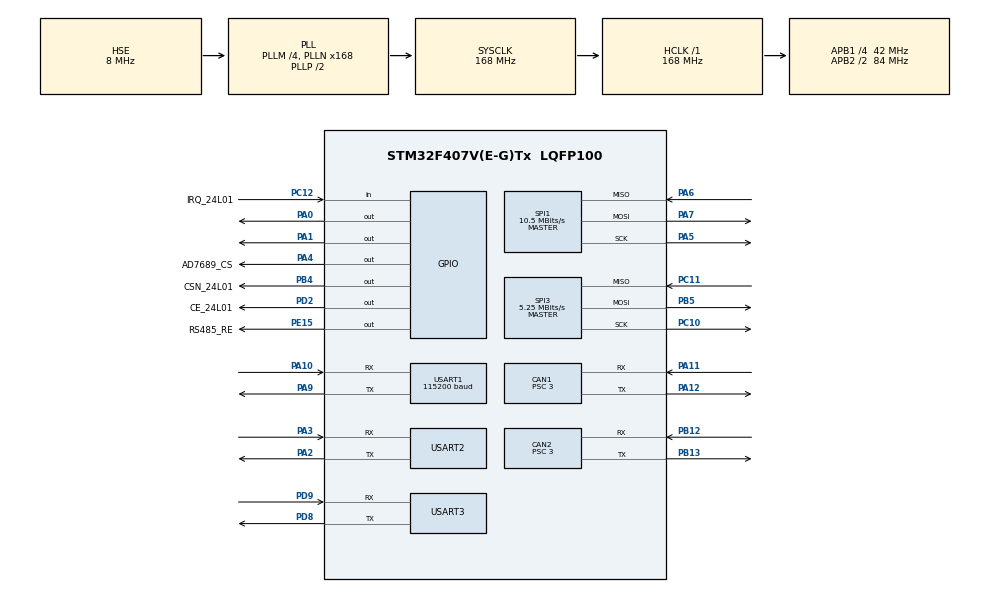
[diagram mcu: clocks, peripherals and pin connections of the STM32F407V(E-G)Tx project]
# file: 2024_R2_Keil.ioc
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CAN1.ABOM=ENABLE
CAN1.AWUM=DISABLE
CAN1.BS1=CAN_BS1_10TQ
CAN1.BS2=CAN_BS2_3TQ
CAN1.CalculateBaudRate=1000000
CAN1.CalculateTimeBit=1000
CAN1.CalculateTimeQuantum=71.42857142857143
CAN1.Prescaler=3
CAN2.ABOM=DISABLE
CAN2.AWUM=DISABLE
CAN2.BS1=CAN_BS1_10TQ
CAN2.BS2=CAN_BS2_3TQ
CAN2.CalculateBaudRate=1000000
CAN2.CalculateTimeBit=1000
CAN2.CalculateTimeQuantum=71.42857142857143
CAN2.Prescaler=3
Dma.Request0=USART1_RX
Dma.Request1=USART2_RX
Dma.Request2=USART3_RX
Dma.USART1_RX.0.Direction=DMA_PERIPH_TO_MEMORY
Dma.USART1_RX.0.FIFOMode=DMA_FIFOMODE_DISABLE
Dma.USART1_RX.0.Instance=DMA2_Stream2
Dma.USART1_RX.0.MemDataAlignment=DMA_MDATAALIGN_BYTE
Dma.USART1_RX.0.MemInc=DMA_MINC_ENABLE
Dma.USART1_RX.0.Mode=DMA_NORMAL
Dma.USART1_RX.0.PeriphDataAlignment=DMA_PDATAALIGN_BYTE
Dma.USART1_RX.0.PeriphInc=DMA_PINC_DISABLE
Dma.USART1_RX.0.Priority=DMA_PRIORITY_LOW
Dma.USART2_RX.1.Direction=DMA_PERIPH_TO_MEMORY
Dma.USART2_RX.1.FIFOMode=DMA_FIFOMODE_DISABLE
Dma.USART2_RX.1.Instance=DMA1_Stream5
Dma.USART2_RX.1.MemDataAlignment=DMA_MDATAALIGN_BYTE
Dma.USART2_RX.1.MemInc=DMA_MINC_ENABLE
Dma.USART2_RX.1.Mode=DMA_NORMAL
Dma.USART2_RX.1.PeriphDataAlignment=DMA_PDATAALIGN_BYTE
Dma.USART2_RX.1.PeriphInc=DMA_PINC_DISABLE
Dma.USART2_RX.1.Priority=DMA_PRIORITY_LOW
Dma.USART3_RX.2.Direction=DMA_PERIPH_TO_MEMORY
Dma.USART3_RX.2.FIFOMode=DMA_FIFOMODE_DISABLE
Dma.USART3_RX.2.Instance=DMA1_Stream1
Dma.USART3_RX.2.MemDataAlignment=DMA_MDATAALIGN_BYTE
Dma.USART3_RX.2.MemInc=DMA_MINC_ENABLE
Dma.USART3_RX.2.Mode=DMA_NORMAL
Dma.USART3_RX.2.PeriphDataAlignment=DMA_PDATAALIGN_BYTE
Dma.USART3_RX.2.PeriphInc=DMA_PINC_DISABLE
Dma.USART3_RX.2.Priority=DMA_PRIORITY_LOW
FREERTOS.Events01=motion_arrive_event,Dynamic,NULL
FREERTOS.Queues01=chassis_cmd_queue,16,ChassisCmd_t,0,Dynamic,NULL,NULL;grap_cmd_queue,16,GrapCommand_e,0,Dynamic,NULL,NULL
FREERTOS.Tasks01=defaultTask,24,128,StartDefaultTask,Default,NULL,Dynamic,NULL,NULL;motor_task,8,128,motor_task_entry,Default,NULL,Dynamic,NULL,NULL;chassis_task,8,128,chassis_task_entry,As external,NULL,Dynamic,NULL,NULL;plant_task,8,128,plant_task_entry,Default,NULL,Dynamic,NULL,NULL;launch_task,8,128,launch_task_entry,Default,NULL,Dynamic,NULL,NULL
Mcu.Family=STM32F4
Mcu.Name=STM32F407V(E-G)Tx
Mcu.Package=LQFP100
NVIC.CAN1_RX0_IRQn=true\:5\:0\:false\:false\:true\:true\:true\:true\:true
NVIC.CAN2_RX1_IRQn=true\:5\:0\:false\:false\:true\:true\:true\:true\:true
NVIC.DMA1_Stream1_IRQn=true\:5\:0\:false\:false\:true\:true\:false\:true\:true
NVIC.DMA1_Stream5_IRQn=true\:5\:0\:false\:false\:true\:true\:false\:true\:true
NVIC.DMA2_Stream2_IRQn=true\:5\:0\:false\:false\:true\:true\:false\:true\:true
NVIC.PriorityGroup=NVIC_PRIORITYGROUP_4
NVIC.SPI3_IRQn=true\:5\:0\:false\:false\:true\:true\:true\:true\:true
NVIC.TIM1_UP_TIM10_IRQn=true\:15\:0\:false\:false\:true\:false\:false\:true\:true
NVIC.TIM6_DAC_IRQn=true\:5\:0\:false\:false\:true\:true\:true\:true\:true
NVIC.TIM7_IRQn=true\:5\:0\:false\:false\:true\:true\:true\:true\:true
NVIC.TimeBase=TIM1_UP_TIM10_IRQn
NVIC.TimeBaseIP=TIM1
NVIC.USART1_IRQn=true\:5\:0\:false\:false\:true\:true\:true\:true\:true
NVIC.USART2_IRQn=true\:5\:0\:false\:false\:true\:true\:true\:true\:true
NVIC.USART3_IRQn=true\:5\:0\:false\:false\:true\:true\:true\:true\:true
PA0-WKUP.GPIO_Speed=GPIO_SPEED_FREQ_HIGH
PA0-WKUP.PinState=GPIO_PIN_SET
PA0-WKUP.Signal=GPIO_Output
PA1.GPIO_Speed=GPIO_SPEED_FREQ_HIGH
PA1.PinState=GPIO_PIN_SET
PA1.Signal=GPIO_Output
PA10.Mode=Asynchronous
PA10.Signal=USART1_RX
PA11.Mode=CAN_Activate
PA11.Signal=CAN1_RX
PA12.Mode=CAN_Activate
PA12.Signal=CAN1_TX
PA13.Mode=Serial_Wire
PA13.Signal=SYS_JTMS-SWDIO
PA14.Mode=Serial_Wire
PA14.Signal=SYS_JTCK-SWCLK
PA2.Mode=Asynchronous
PA2.Signal=USART2_TX
PA3.Mode=Asynchronous
PA3.Signal=USART2_RX
PA4.GPIO_Label=AD7689_CS
PA4.GPIO_PuPd=GPIO_NOPULL
PA4.GPIO_Speed=GPIO_SPEED_FREQ_LOW
PA4.PinState=GPIO_PIN_SET
PA4.Signal=GPIO_Output
PA5.Mode=Full_Duplex_Master
PA5.Signal=SPI1_SCK
PA6.Mode=Full_Duplex_Master
PA6.Signal=SPI1_MISO
PA7.Mode=Full_Duplex_Master
PA7.Signal=SPI1_MOSI
PA9.Mode=Asynchronous
PA9.Signal=USART1_TX
PB12.Mode=CAN_Activate
PB12.Signal=CAN2_RX
PB13.Mode=CAN_Activate
PB13.Signal=CAN2_TX
PB4.GPIO_Label=CSN_24L01
PB4.GPIO_Speed=GPIO_SPEED_FREQ_HIGH
PB4.PinState=GPIO_PIN_SET
PB4.Signal=GPIO_Output
PB5.Mode=Full_Duplex_Master
PB5.Signal=SPI3_MOSI
PC10.Mode=Full_Duplex_Master
PC10.Signal=SPI3_SCK
PC11.Mode=Full_Duplex_Master
PC11.Signal=SPI3_MISO
PC12.GPIO_Label=IRQ_24L01
PC12.GPIO_PuPd=GPIO_PULLUP
PC12.Signal=GPIO_Input
PD2.GPIO_Label=CE_24L01
PD2.GPIO_Speed=GPIO_SPEED_FREQ_HIGH
PD2.PinState=GPIO_PIN_SET
PD2.Signal=GPIO_Output
PD8.Mode=Asynchronous
PD8.Signal=USART3_TX
PD9.Mode=Asynchronous
PD9.Signal=USART3_RX
PE15.GPIO_Label=RS485_RE
PE15.PinState=GPIO_PIN_SET
PE15.Signal=GPIO_Output
PH0-OSC_IN.Mode=HSE-External-Oscillator
PH0-OSC_IN.Signal=RCC_OSC_IN
PH1-OSC_OUT.Mode=HSE-External-Oscillator
PH1-OSC_OUT.Signal=RCC_OSC_OUT
ProjectManager.HeapSize=0x200
ProjectManager.StackSize=0x400
ProjectManager.TargetToolchain=Makefile
RCC.48MHZClocksFreq_Value=84000000
RCC.AHBFreq_Value=168000000
RCC.APB1CLKDivider=RCC_HCLK_DIV4
RCC.APB1Freq_Value=42000000
RCC.APB1TimFreq_Value=84000000
RCC.APB2CLKDivider=RCC_HCLK_DIV2
RCC.APB2Freq_Value=84000000
RCC.APB2TimFreq_Value=168000000
RCC.CortexFreq_Value=168000000
RCC.HCLKFreq_Value=168000000
RCC.HSE_VALUE=8000000
RCC.HSI_VALUE=16000000
RCC.LSE_VALUE=32768
RCC.PLLM=4
RCC.PLLN=168
RCC.PLLSourceVirtual=RCC_PLLSOURCE_HSE
RCC.SYSCLKFreq_VALUE=168000000
RCC.SYSCLKSource=RCC_SYSCLKSOURCE_PLLCLK
RCC.VCOOutputFreq_Value=336000000
SPI1.BaudRatePrescaler=SPI_BAUDRATEPRESCALER_8
SPI1.CalculateBaudRate=10.5 MBits/s
SPI1.Direction=SPI_DIRECTION_2LINES
SPI1.Mode=SPI_MODE_MASTER
SPI1.VirtualType=VM_MASTER
SPI3.BaudRatePrescaler=SPI_BAUDRATEPRESCALER_8
SPI3.CalculateBaudRate=5.25 MBits/s
SPI3.Direction=SPI_DIRECTION_2LINES
SPI3.Mode=SPI_MODE_MASTER
SPI3.VirtualType=VM_MASTER
TIM6.Period=4999
TIM6.Prescaler=83
TIM7.Period=49999
TIM7.Prescaler=83
USART1.BaudRate=115200
USART1.VirtualMode=VM_ASYNC
USART2.VirtualMode=VM_ASYNC
USART3.VirtualMode=VM_ASYNC
VP_FREERTOS_VS_CMSIS_V2.Mode=CMSIS_V2
VP_SYS_VS_tim1.Mode=TIM1
VP_TIM6_VS_ClockSourceINT.Mode=Enable_Timer
VP_TIM7_VS_ClockSourceINT.Mode=Enable_Timer
board=custom

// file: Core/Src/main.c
/* USER CODE BEGIN Header */
/**
  ******************************************************************************
  * @file           : main.c
  * @brief          : Main program body
  ******************************************************************************
  * @attention
  *
  * Copyright (c) 2024 STMicroelectronics.
  * All rights reserved.
  *
  * This software is licensed under terms that can be found in the LICENSE file
  * in the root directory of this software component.
  * If no LICENSE file comes with this software, it is provided AS-IS.
  *
  ******************************************************************************
  */
/* USER CODE END Header */
#include "main.h"
#include "cmsis_os.h"
#include "can.h"
#include "dma.h"
#include "spi.h"
#include "tim.h"
#include "usart.h"
#include "gpio.h"

/* USER CODE BEGIN Includes */
#include "vofa_setting.h"
#include "vofa.h"
#include "chassis_task.h"
#include "stdio.h"
#include "NRF24L01.h"
int fputc(int ch,FILE *f)
{
  HAL_UART_Transmit(&huart3,(uint8_t*)&ch,1,0xffff);
  return ch;
}
int fgetc(FILE *f)
{
  uint8_t ch=0;
	HAL_UART_Receive(&huart3,&ch,1,0xffff);
  return ch;
}
/* USER CODE END Includes */

void SystemClock_Config(void);
void MX_FREERTOS_Init(void);

int main(void)
{

  /* MCU Configuration--------------------------------------------------------*/

  /* Reset of all peripherals, Initializes the Flash interface and the Systick. */
  HAL_Init();

  /* Configure the system clock */
  SystemClock_Config();

  /* Initialize all configured peripherals */
  MX_GPIO_Init();
  MX_DMA_Init();
  MX_TIM6_Init();
  MX_CAN1_Init();
  MX_CAN2_Init();
  MX_USART1_UART_Init();
  MX_USART2_UART_Init();
  MX_USART3_UART_Init();
  MX_SPI3_Init();
  MX_TIM7_Init();
  MX_SPI1_Init();
  /* USER CODE BEGIN 2 */
	HAL_GPIO_WritePin(GPIOA, GPIO_PIN_0,GPIO_PIN_RESET);
	HAL_GPIO_WritePin(GPIOA, GPIO_PIN_1,GPIO_PIN_RESET);
  All_Init();
	NRF24L01_Init();
	while(NRF24L01_Check())
	{}
	RX_Mode_ack_data();
	HAL_Delay(5000);
	HAL_TIM_Base_Start_IT(&htim6);//��ʼִ�е�������,400hz
  HAL_TIM_Base_Start_IT(&htim7);//20hz
  /* USER CODE END 2 */

  /* Init scheduler */
  osKernelInitialize();  /* Call init function for freertos objects (in cmsis_os2.c) */
  MX_FREERTOS_Init();

  /* Start scheduler */
  osKernelStart();

  /* We should never get here as control is now taken by the scheduler */

  /* Infinite loop */
  while (1)
  {

  }
}

void SystemClock_Config(void)
{
  RCC_OscInitTypeDef RCC_OscInitStruct = {0};
  RCC_ClkInitTypeDef RCC_ClkInitStruct = {0};

  /** Configure the main internal regulator output voltage
  */
  __HAL_RCC_PWR_CLK_ENABLE();
  __HAL_PWR_VOLTAGESCALING_CONFIG(PWR_REGULATOR_VOLTAGE_SCALE1);

  /** Initializes the RCC Oscillators according to the specified parameters
  * in the RCC_OscInitTypeDef structure.
  */
  RCC_OscInitStruct.OscillatorType = RCC_OSCILLATORTYPE_HSE;
  RCC_OscInitStruct.HSEState = RCC_HSE_ON;
  RCC_OscInitStruct.PLL.PLLState = RCC_PLL_ON;
  RCC_OscInitStruct.PLL.PLLSource = RCC_PLLSOURCE_HSE;
  RCC_OscInitStruct.PLL.PLLM = 4;
  RCC_OscInitStruct.PLL.PLLN = 168;
  RCC_OscInitStruct.PLL.PLLP = RCC_PLLP_DIV2;
  RCC_OscInitStruct.PLL.PLLQ = 4;
  if (HAL_RCC_OscConfig(&RCC_OscInitStruct) != HAL_OK)
  {
    Error_Handler();
  }

  /** Initializes the CPU, AHB and APB buses clocks
  */
  RCC_ClkInitStruct.ClockType = RCC_CLOCKTYPE_HCLK|RCC_CLOCKTYPE_SYSCLK
                              |RCC_CLOCKTYPE_PCLK1|RCC_CLOCKTYPE_PCLK2;
  RCC_ClkInitStruct.SYSCLKSource = RCC_SYSCLKSOURCE_PLLCLK;
  RCC_ClkInitStruct.AHBCLKDivider = RCC_SYSCLK_DIV1;
  RCC_ClkInitStruct.APB1CLKDivider = RCC_HCLK_DIV4;
  RCC_ClkInitStruct.APB2CLKDivider = RCC_HCLK_DIV2;

  if (HAL_RCC_ClockConfig(&RCC_ClkInitStruct, FLASH_LATENCY_5) != HAL_OK)
  {
    Error_Handler();
  }
}

void HAL_TIM_PeriodElapsedCallback(TIM_HandleTypeDef *htim)
{
  if (htim->Instance == TIM1)
  {
    HAL_IncTick();
  }
}

void Error_Handler(void)
{
  __disable_irq();
  while (1)
  {
  }
}

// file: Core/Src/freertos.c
/* USER CODE BEGIN Header */
/**
  ******************************************************************************
  * File Name          : freertos.c
  * Description        : Code for freertos applications
  ******************************************************************************
  * @attention
  *
  * Copyright (c) 2025 STMicroelectronics.
  * All rights reserved.
  *
  * This software is licensed under terms that can be found in the LICENSE file
  * in the root directory of this software component.
  * If no LICENSE file comes with this software, it is provided AS-IS.
  *
  ******************************************************************************
  */
/* USER CODE END Header */

#include "FreeRTOS.h"
#include "task.h"
#include "main.h"
#include "cmsis_os.h"

/* USER CODE BEGIN Includes */
#include "chassis_module.h"
#include "grap_module.h"
/* USER CODE END Includes */

/* Definitions for defaultTask */
osThreadId_t defaultTaskHandle;
const osThreadAttr_t defaultTask_attributes = {
  .name = "defaultTask",
  .stack_size = 128 * 4,
  .priority = (osPriority_t) osPriorityNormal,
};
/* Definitions for motor_task */
osThreadId_t motor_taskHandle;
const osThreadAttr_t motor_task_attributes = {
  .name = "motor_task",
  .stack_size = 128 * 4,
  .priority = (osPriority_t) osPriorityLow,
};
/* Definitions for chassis_task */
osThreadId_t chassis_taskHandle;
const osThreadAttr_t chassis_task_attributes = {
  .name = "chassis_task",
  .stack_size = 128 * 4,
  .priority = (osPriority_t) osPriorityLow,
};
/* Definitions for plant_task */
osThreadId_t plant_taskHandle;
const osThreadAttr_t plant_task_attributes = {
  .name = "plant_task",
  .stack_size = 128 * 4,
  .priority = (osPriority_t) osPriorityLow,
};
/* Definitions for launch_task */
osThreadId_t launch_taskHandle;
const osThreadAttr_t launch_task_attributes = {
  .name = "launch_task",
  .stack_size = 128 * 4,
  .priority = (osPriority_t) osPriorityLow,
};
/* Definitions for chassis_cmd_queue */
osMessageQueueId_t chassis_cmd_queueHandle;
const osMessageQueueAttr_t chassis_cmd_queue_attributes = {
  .name = "chassis_cmd_queue"
};
/* Definitions for grap_cmd_queue */
osMessageQueueId_t grap_cmd_queueHandle;
const osMessageQueueAttr_t grap_cmd_queue_attributes = {
  .name = "grap_cmd_queue"
};
/* Definitions for motion_arrive_event */
osEventFlagsId_t motion_arrive_eventHandle;
const osEventFlagsAttr_t motion_arrive_event_attributes = {
  .name = "motion_arrive_event"
};

void StartDefaultTask(void *argument);
void motor_task_entry(void *argument);
extern void chassis_task_entry(void *argument);
void plant_task_entry(void *argument);
void launch_task_entry(void *argument);

void MX_FREERTOS_Init(void); /* (MISRA C 2004 rule 8.1) */

void MX_FREERTOS_Init(void) {

  /* Create the queue(s) */
  /* creation of chassis_cmd_queue */
  chassis_cmd_queueHandle = osMessageQueueNew (16, sizeof(ChassisCmd_t), &chassis_cmd_queue_attributes);

  /* creation of grap_cmd_queue */
  grap_cmd_queueHandle = osMessageQueueNew (16, sizeof(GrapCommand_e), &grap_cmd_queue_attributes);

  /* Create the thread(s) */
  /* creation of defaultTask */
  defaultTaskHandle = osThreadNew(StartDefaultTask, NULL, &defaultTask_attributes);

  /* creation of motor_task */
  motor_taskHandle = osThreadNew(motor_task_entry, NULL, &motor_task_attributes);

  /* creation of chassis_task */
  chassis_taskHandle = osThreadNew(chassis_task_entry, NULL, &chassis_task_attributes);

  /* creation of plant_task */
  plant_taskHandle = osThreadNew(plant_task_entry, NULL, &plant_task_attributes);

  /* creation of launch_task */
  launch_taskHandle = osThreadNew(launch_task_entry, NULL, &launch_task_attributes);

  /* Create the event(s) */
  /* creation of motion_arrive_event */
  motion_arrive_eventHandle = osEventFlagsNew(&motion_arrive_event_attributes);

}

void StartDefaultTask(void *argument)
{
  for(;;)
  {
    osDelay(1);
  }
}

void motor_task_entry(void *argument)
{
  for(;;)
  {
    osDelay(1);
  }
}

void plant_task_entry(void *argument)
{
  for(;;)
  {
    osDelay(1);
  }
}

void launch_task_entry(void *argument)
{
  for(;;)
  {
    osDelay(1);
  }
}
